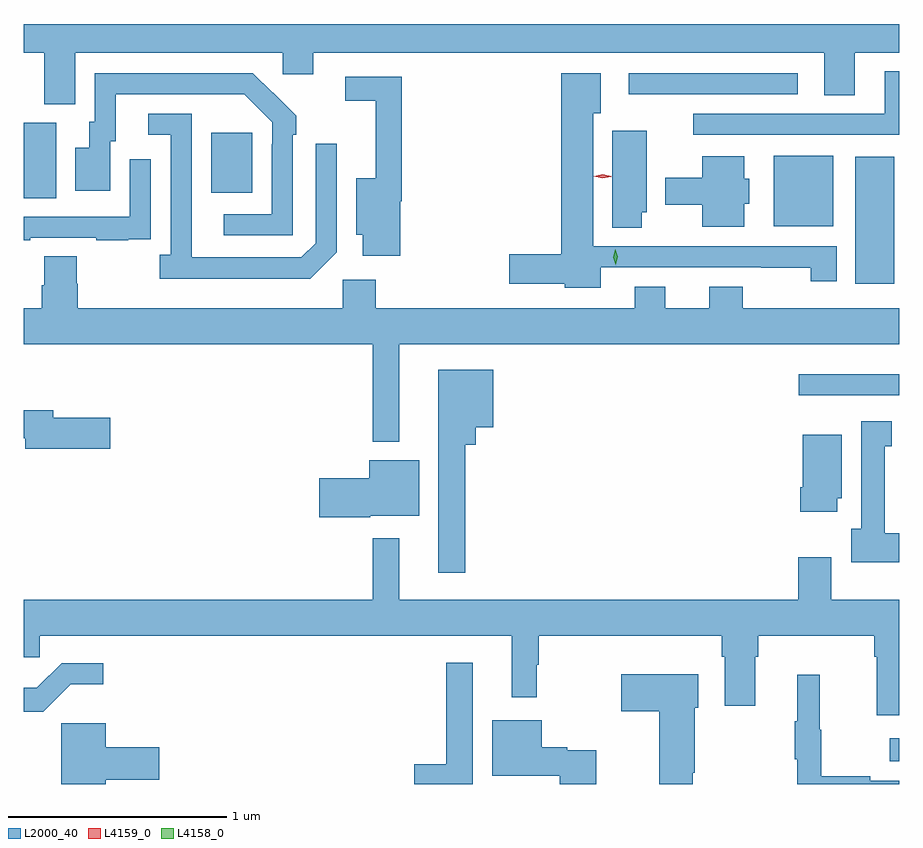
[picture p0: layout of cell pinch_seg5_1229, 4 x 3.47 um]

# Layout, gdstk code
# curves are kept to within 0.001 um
import gdstk
lib = gdstk.Library(unit=1e-6, precision=1e-09)
def R(c, l, rs):  # rectangles x0, y0, x1, y1
    for r in rs: c.add(gdstk.rectangle(r[:2], r[2:], *l))
def P(c, l, *ps):  # polygons
    for p in ps: c.add(gdstk.Polygon(p, *l))
L2000_40 = (2000, 40)
L4158_0 = (4158, 0)
L4159_0 = (4159, 0)

pinch_seg5_1229 = lib.new_cell('pinch_seg5_1229')
R(pinch_seg5_1229, L2000_40, [(424.371,912.131,424.415,912.235), (423.957,913.803,424.415,913.9), (424.214,914.312,424.393,914.893), (423.842,914.576,424.114,914.899), (420.415,914.704,420.562,915.048), (421.271,914.729,421.459,915.004), (423.18,915.18,423.952,915.276)])
P(pinch_seg5_1229, L2000_40, [(420.649,915.368),(421.599,915.368),(421.599,915.27),(421.738,915.27),(421.738,915.368),(424.073,915.368),(424.073,915.175),(424.213,915.175),(424.213,915.368),(424.415,915.368),(424.415,915.5),(420.415,915.5),(420.415,915.368),(420.509,915.368),(420.509,915.133),(420.649,915.133)],
  [(424.415,915.283),(424.349,915.283),(424.349,915.09),(423.474,915.09),(423.474,914.994),(424.415,914.994)],
  [(421.644,914.993),(421.659,914.993),(421.659,915.081),(421.462,915.276),(420.738,915.276),(420.738,915.054),(420.713,915.054),(420.713,914.935),(420.65,914.935),(420.65,914.739),(420.811,914.739),(420.811,914.964),(420.835,914.964),(420.835,915.18),(421.423,915.18),(421.551,915.051),(421.551,914.951),(421.548,914.951),(421.548,914.631),(421.329,914.631),(421.329,914.535),(421.644,914.535)],
  [(423.052,914.388),(423.784,914.388),(423.784,914.387),(424.012,914.387),(424.012,914.325),(424.129,914.325),(424.129,914.484),(423.016,914.484),(423.016,915.092),(423.052,915.092),(423.052,915.274),(422.87,915.274),(422.87,914.447),(422.634,914.447),(422.634,914.312),(422.886,914.312),(422.886,914.294),(423.052,914.294)],
  [(422.135,914.69),(422.141,914.69),(422.141,915.258),(421.884,915.258),(421.884,915.15),(422.024,915.15),(422.024,914.794),(421.934,914.794),(421.934,914.537),(421.964,914.537),(421.964,914.442),(422.135,914.442)],
  [(421.845,914.457),(421.845,914.953),(421.749,914.953),(421.749,914.499),(421.683,914.433),(421.183,914.433),(421.182,915.09),(420.984,915.09),(420.984,914.994),(421.086,914.994),(421.086,914.446),(421.035,914.446),(421.035,914.336),(421.724,914.336)],
  [(423.238,914.64),(423.262,914.64),(423.262,915.013),(423.104,915.013),(423.104,914.569),(423.238,914.569)],
  [(423.706,914.679),(423.73,914.679),(423.73,914.793),(423.706,914.793),(423.706,914.896),(423.515,914.896),(423.515,914.797),(423.347,914.797),(423.347,914.675),(423.515,914.675),(423.515,914.573),(423.706,914.573)],
  [(420.445,914.523),(420.745,914.523),(420.745,914.511),(420.893,914.511),(420.893,914.517),(420.995,914.517),(420.995,914.626),(420.996,914.626),(420.996,914.881),(420.9,914.881),(420.9,914.619),(420.415,914.619),(420.415,914.511),(420.445,914.511)],
  [(422.131,914.036),(424.415,914.036),(424.415,914.2),(423.701,914.2),(423.701,914.299),(423.548,914.299),(423.548,914.2),(423.346,914.2),(423.346,914.299),(423.206,914.299),(423.206,914.2),(422.024,914.2),(422.024,914.332),(421.872,914.332),(421.872,914.2),(420.662,914.2),(420.662,914.313),(420.657,914.313),(420.657,914.438),(420.509,914.438),(420.509,914.306),(420.497,914.306),(420.497,914.2),(420.415,914.2),(420.415,914.036),(422.01,914.036),(422.01,913.592),(422.131,913.592)],
  [(422.431,913.577),(422.48,913.577),(422.48,913.658),(422.56,913.658),(422.56,913.921),(422.309,913.921),(422.309,912.993),(422.431,912.993)],
  [(420.811,913.701),(420.55,913.701),(420.55,913.735),(420.415,913.735),(420.415,913.606),(420.422,913.606),(420.422,913.559),(420.811,913.559)],
  [(424.415,913.174),(424.348,913.174),(424.348,913.571),(424.381,913.571),(424.381,913.684),(424.241,913.684),(424.241,913.194),(424.196,913.194),(424.196,913.04),(424.415,913.04)],
  [(424.132,913.332),(424.153,913.332),(424.153,913.624),(423.974,913.624),(423.974,913.384),(423.962,913.384),(423.962,913.272),(424.132,913.272)],
  [(421.998,913.253),(422.221,913.253),(422.221,913.507),(421.994,913.507),(421.994,913.424),(421.764,913.424),(421.764,913.246),(421.998,913.246)],
  [(424.415,912.868),(424.105,912.868),(424.105,913.063),(423.953,913.063),(423.953,912.868),(422.131,912.868),(422.131,913.15),(422.01,913.15),(422.01,912.868),(420.415,912.868),(420.415,912.606),(420.487,912.606),(420.487,912.704),(422.645,912.704),(422.645,912.423),(422.759,912.423),(422.759,912.572),(422.767,912.572),(422.767,912.704),(423.605,912.704),(423.605,912.608),(423.617,912.608),(423.617,912.384),(423.757,912.384),(423.757,912.608),(423.77,912.608),(423.77,912.704),(424.301,912.704),(424.301,912.608),(424.313,912.608),(424.313,912.342),(424.415,912.342)],
  [(422.467,912.58),(422.346,912.58),(422.346,912.118),(422.198,912.118),(422.198,912.027),(422.467,912.027)],
  [(420.629,912.482),(420.778,912.482),(420.778,912.579),(420.588,912.579),(420.475,912.466),(420.415,912.466),(420.415,912.357),(420.503,912.357)],
  [(423.472,912.079),(423.48,912.079),(423.48,912.375),(423.496,912.375),(423.496,912.529),(423.144,912.529),(423.144,912.359),(423.319,912.359),(423.319,912.027),(423.472,912.027)],
  [(424.415,912.042),(424.283,912.042),(424.283,912.062),(424.06,912.062),(424.06,912.276),(424.052,912.276),(424.052,912.526),(423.95,912.526),(423.95,912.313),(423.939,912.313),(423.939,912.139),(423.95,912.139),(423.95,912.027),(424.415,912.027)],
  [(423.03,912.181),(422.898,912.181),(422.898,912.194),(422.782,912.194),(422.782,912.319),(422.555,912.319),(422.555,912.065),(422.864,912.065),(422.864,912.027),(423.03,912.027)],
  [(420.79,912.047),(421.033,912.047),(421.033,912.194),(420.79,912.194),(420.79,912.304),(420.587,912.304),(420.587,912.027),(420.79,912.027)])
P(pinch_seg5_1229, L4158_0, [(423.119,914.4),(423.109,914.435),(423.118,914.471),(423.118,914.471),(423.118,914.471),(423.129,914.436),(423.12,914.4),(423.12,914.4)])
P(pinch_seg5_1229, L4159_0, [(423.059,914.794),(423.019,914.804),(423.019,914.804),(423.019,914.805),(423.06,914.814),(423.1,914.804),(423.1,914.803),(423.1,914.803)])

lib.write_gds('pinch_seg5_1229.gds')
